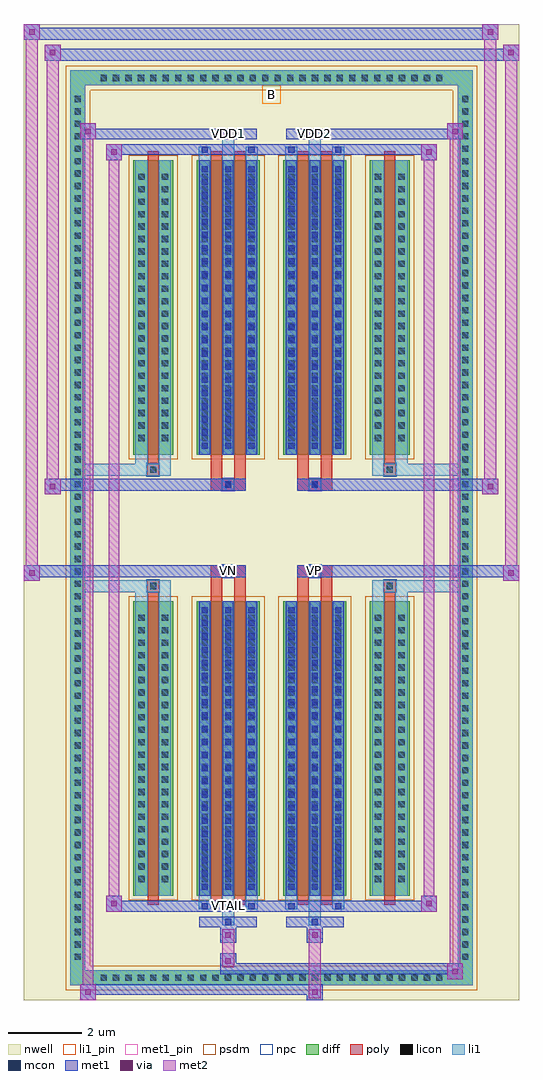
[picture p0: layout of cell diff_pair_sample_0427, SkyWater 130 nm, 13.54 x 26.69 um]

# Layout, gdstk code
import gdstk
lib = gdstk.Library(unit=1e-6, precision=5e-09)
def R(c, l, rs):  # rectangles x0, y0, x1, y1
    for r in rs: c.add(gdstk.rectangle(r[:2], r[2:], *l))
def A(c, l, x, y, w, h, nx, ny, dx, dy):  # array of equal rectangles
    R(c, l, [(x+i*dx, y+j*dy, x+i*dx+w, y+j*dy+h) for i in range(nx) for j in range(ny)])
def P(c, l, *ps):  # polygons
    for p in ps: c.add(gdstk.Polygon(p, *l))
nwell = (64, 20)
diff = (65, 20)
poly = (66, 20)
licon = (66, 44)
li1_pin = (67, 16)
li1 = (67, 20)
mcon = (67, 44)
met1_pin = (68, 16)
met1 = (68, 20)
via = (68, 44)
met2 = (69, 20)
psdm = (94, 20)
npc = (95, 20)

diff_pair_sample_0427 = lib.new_cell('diff_pair_sample_0427')
R(diff_pair_sample_0427, nwell, [(-6.77,-12.91,6.77,13.78), (-4.09,-11.1,-0.01,-0.82), (0.01,-11.1,4.09,-0.82), (-4.09,0.82,-0.01,11.1), (0.01,0.82,4.09,11.1)])
A(diff_pair_sample_0427, diff, -4.795, -12.51, 0.41, 0.41, 28, 2, 0.34, 24.61)
A(diff_pair_sample_0427, diff, -5.5, -11.935, 0.41, 0.41, 1, 70, 0, 0.34)
A(diff_pair_sample_0427, diff, 5.09, -11.935, 0.41, 0.41, 1, 70, 0, 0.34)
R(diff_pair_sample_0427, diff, [(-4.795,-12.51,4.795,-12.1), (-5.5,-11.935,-5.09,11.935), (5.09,-11.935,5.5,11.935), (-3.78,-10.055,-2.69,-2.005), (-2.05,-10.055,-0.32,-2.005), (0.32,-10.055,2.05,-2.005), (2.69,-10.055,3.78,-2.005), (-3.78,2.005,-2.69,10.055), (-2.05,2.005,-0.32,10.055), (0.32,2.005,2.05,10.055), (2.69,2.005,3.78,10.055), (-4.795,12.1,4.795,12.51)])
P(diff_pair_sample_0427, diff, [(5.5,12.51),(-5.5,12.51),(-5.5,-12.1),(-5.09,-12.1),(-5.09,12.1),(5.09,12.1),(5.09,-12.1),(-5.09,-12.1),(-5.5,-12.1),(-5.5,-12.51),(5.5,-12.51)])
R(diff_pair_sample_0427, poly, [(-3.39,-10.305,-3.08,-1.755), (-1.66,-10.305,-1.35,-1.755), (-1.02,-10.305,-0.71,-1.755), (0.71,-10.305,1.02,-1.755), (1.35,-10.305,1.66,-1.755), (3.08,-10.305,3.39,-1.755), (-3.4,-1.755,-3.07,-1.425), (-3.4,-1.755,-3.07,-1.425), (-1.66,-1.755,-1.35,-1.35), (-1.02,-1.755,-0.71,-1.35), (0.71,-1.755,1.02,-1.35), (1.35,-1.755,1.66,-1.35), (3.07,-1.755,3.4,-1.425), (3.07,-1.755,3.4,-1.425), (-1.66,-1.35,-0.71,-1.02), (-1.35,-1.35,-1.02,-1.02), (0.71,-1.35,1.66,-1.02), (1.02,-1.35,1.35,-1.02), (-1.66,1.02,-0.71,1.35), (-1.35,1.02,-1.02,1.35), (0.71,1.02,1.66,1.35), (1.02,1.02,1.35,1.35), (-1.66,1.35,-1.35,1.755), (-1.02,1.35,-0.71,1.755), (0.71,1.35,1.02,1.755), (1.35,1.35,1.66,1.755), (-3.4,1.425,-3.07,1.755), (-3.4,1.425,-3.07,1.755), (3.07,1.425,3.4,1.755), (3.07,1.425,3.4,1.755), (-3.39,1.755,-3.08,10.305), (-1.66,1.755,-1.35,10.305), (-1.02,1.755,-0.71,10.305), (0.71,1.755,1.02,10.305), (1.35,1.755,1.66,10.305), (3.08,1.755,3.39,10.305)])
A(diff_pair_sample_0427, licon, -4.675, -12.39, 0.17, 0.17, 28, 2, 0.34, 24.61)
A(diff_pair_sample_0427, licon, -5.38, -11.815, 0.17, 0.17, 1, 70, 0, 0.34)
A(diff_pair_sample_0427, licon, 5.21, -11.815, 0.17, 0.17, 1, 70, 0, 0.34)
A(diff_pair_sample_0427, licon, -3.64, -9.685, 0.17, 0.17, 1, 22, 0, 0.34)
A(diff_pair_sample_0427, licon, -3, -9.685, 0.17, 0.17, 1, 22, 0, 0.34)
A(diff_pair_sample_0427, licon, -1.91, -9.685, 0.17, 0.17, 3, 22, 0.64, 0.34)
A(diff_pair_sample_0427, licon, 0.46, -9.685, 0.17, 0.17, 3, 22, 0.64, 0.34)
A(diff_pair_sample_0427, licon, 2.83, -9.685, 0.17, 0.17, 1, 22, 0, 0.34)
A(diff_pair_sample_0427, licon, 3.47, -9.685, 0.17, 0.17, 1, 22, 0, 0.34)
A(diff_pair_sample_0427, licon, -3.64, 2.375, 0.17, 0.17, 1, 22, 0, 0.34)
A(diff_pair_sample_0427, licon, -3, 2.375, 0.17, 0.17, 1, 22, 0, 0.34)
A(diff_pair_sample_0427, licon, -1.91, 2.375, 0.17, 0.17, 3, 22, 0.64, 0.34)
A(diff_pair_sample_0427, licon, 0.46, 2.375, 0.17, 0.17, 3, 22, 0.64, 0.34)
A(diff_pair_sample_0427, licon, 2.83, 2.375, 0.17, 0.17, 1, 22, 0, 0.34)
A(diff_pair_sample_0427, licon, 3.47, 2.375, 0.17, 0.17, 1, 22, 0, 0.34)
R(diff_pair_sample_0427, licon, [(-3.32,-1.675,-3.15,-1.505), (3.15,-1.675,3.32,-1.505), (-1.27,-1.27,-1.1,-1.1), (1.1,-1.27,1.27,-1.1), (-1.27,1.1,-1.1,1.27), (1.1,1.1,1.27,1.27), (-3.32,1.505,-3.15,1.675), (3.15,1.505,3.32,1.675)])
R(diff_pair_sample_0427, li1_pin, [(-0.25,11.6,0.25,12.1)])
A(diff_pair_sample_0427, li1, -4.755, -12.47, 0.33, 0.33, 28, 2, 0.34, 24.61)
A(diff_pair_sample_0427, li1, -5.46, -11.895, 0.33, 0.33, 1, 70, 0, 0.34)
A(diff_pair_sample_0427, li1, 5.13, -11.895, 0.33, 0.33, 1, 70, 0, 0.34)
A(diff_pair_sample_0427, li1, -1.99, -10.055, 0.33, 8.05, 3, 2, 0.64, 12.06)
A(diff_pair_sample_0427, li1, 0.38, -10.055, 0.33, 8.05, 3, 2, 0.64, 12.06)
A(diff_pair_sample_0427, li1, -1.91, -9.895, 0.17, 0.17, 3, 22, 0.64, 0.36)
A(diff_pair_sample_0427, li1, -1.91, -9.895, 0.17, 7.73, 3, 2, 0.64, 12.06)
A(diff_pair_sample_0427, li1, 0.46, -9.895, 0.17, 0.17, 3, 22, 0.64, 0.36)
A(diff_pair_sample_0427, li1, 0.46, -9.895, 0.17, 7.73, 3, 2, 0.64, 12.06)
A(diff_pair_sample_0427, li1, -3.72, -9.765, 0.33, 0.33, 1, 22, 0, 0.34)
A(diff_pair_sample_0427, li1, -3.08, -9.765, 0.33, 0.33, 1, 22, 0, 0.34)
A(diff_pair_sample_0427, li1, -1.99, -9.765, 0.33, 0.33, 3, 22, 0.64, 0.34)
A(diff_pair_sample_0427, li1, 0.38, -9.765, 0.33, 0.33, 3, 22, 0.64, 0.34)
A(diff_pair_sample_0427, li1, 2.75, -9.765, 0.33, 0.33, 1, 22, 0, 0.34)
A(diff_pair_sample_0427, li1, 3.39, -9.765, 0.33, 0.33, 1, 22, 0, 0.34)
A(diff_pair_sample_0427, li1, -1.91, 2.165, 0.17, 0.17, 3, 22, 0.64, 0.36)
A(diff_pair_sample_0427, li1, 0.46, 2.165, 0.17, 0.17, 3, 22, 0.64, 0.36)
A(diff_pair_sample_0427, li1, -3.72, 2.295, 0.33, 0.33, 1, 22, 0, 0.34)
A(diff_pair_sample_0427, li1, -3.08, 2.295, 0.33, 0.33, 1, 22, 0, 0.34)
A(diff_pair_sample_0427, li1, -1.99, 2.295, 0.33, 0.33, 3, 22, 0.64, 0.34)
A(diff_pair_sample_0427, li1, 0.38, 2.295, 0.33, 0.33, 3, 22, 0.64, 0.34)
A(diff_pair_sample_0427, li1, 2.75, 2.295, 0.33, 0.33, 1, 22, 0, 0.34)
A(diff_pair_sample_0427, li1, 3.39, 2.295, 0.33, 0.33, 1, 22, 0, 0.34)
R(diff_pair_sample_0427, li1, [(-5.5,-12.51,-5.09,-12.1), (-5.5,-12.51,-5.09,-12.1), (-5.09,-12.51,5.09,-12.1), (5.09,-12.51,5.5,-12.1), (5.09,-12.51,5.5,-12.1), (-5.5,-12.1,-5.09,12.1), (5.09,-12.1,5.5,12.1), (-1.35,-10.86,-1.02,-10.055), (-1.27,-10.86,-1.1,-10.69), (1.02,-10.86,1.35,-10.055), (1.1,-10.86,1.27,-10.69), (-1.99,-10.43,-1.66,-10.055), (-1.91,-10.43,-1.74,-10.26), (-0.71,-10.43,-0.38,-10.055), (-0.63,-10.43,-0.46,-10.26), (0.38,-10.43,0.71,-10.055), (0.46,-10.43,0.63,-10.26), (1.66,-10.43,1.99,-10.055), (1.74,-10.43,1.91,-10.26), (-3.72,-10.055,-3.39,-2.005), (-3.08,-10.055,-2.75,-2.005), (2.75,-10.055,3.08,-2.005), (3.39,-10.055,3.72,-2.005), (-3.72,-2.005,-3.39,-1.425), (-3.08,-2.005,-2.75,-1.425), (2.75,-2.005,3.08,-1.425), (3.39,-2.005,3.72,-1.425), (-5.5,-1.755,-3.4,-1.425), (-3.72,-1.755,-3.4,-1.425), (-3.4,-1.755,-3.07,-1.425), (-3.07,-1.755,-2.75,-1.425), (2.75,-1.755,3.07,-1.425), (3.07,-1.755,3.4,-1.425), (3.07,-1.755,5.5,-1.425), (3.4,-1.755,3.72,-1.425), (-1.35,-1.35,-1.02,-1.02), (1.02,-1.35,1.35,-1.02), (-1.35,1.02,-1.02,1.35), (1.02,1.02,1.35,1.35), (-5.5,1.425,-3.4,1.755), (-3.72,1.425,-3.4,1.755), (-3.72,1.425,-3.39,2.005), (-3.4,1.425,-3.07,1.755), (-3.08,1.425,-2.75,2.005), (-3.07,1.425,-2.75,1.755), (2.75,1.425,3.07,1.755), (2.75,1.425,3.08,2.005), (3.07,1.425,3.4,1.755), (3.07,1.425,5.5,1.755), (3.39,1.425,3.72,2.005), (3.4,1.425,3.72,1.755), (-3.72,2.005,-3.39,10.055), (-3.08,2.005,-2.75,10.055), (2.75,2.005,3.08,10.055), (3.39,2.005,3.72,10.055), (-1.99,10.055,-1.66,10.43), (-1.35,10.055,-1.02,10.86), (-0.71,10.055,-0.38,10.43), (0.38,10.055,0.71,10.43), (1.02,10.055,1.35,10.86), (1.66,10.055,1.99,10.43), (-1.91,10.26,-1.74,10.43), (-0.63,10.26,-0.46,10.43), (0.46,10.26,0.63,10.43), (1.74,10.26,1.91,10.43), (-1.27,10.69,-1.1,10.86), (1.1,10.69,1.27,10.86), (-5.5,12.1,-5.09,12.51), (-5.5,12.1,-5.09,12.51), (-5.09,12.1,5.09,12.51), (5.09,12.1,5.5,12.51), (5.09,12.1,5.5,12.51)])
A(diff_pair_sample_0427, mcon, -1.91, -9.895, 0.17, 0.17, 3, 22, 0.64, 0.36)
A(diff_pair_sample_0427, mcon, 0.46, -9.895, 0.17, 0.17, 3, 22, 0.64, 0.36)
A(diff_pair_sample_0427, mcon, -1.91, 2.165, 0.17, 0.17, 3, 22, 0.64, 0.36)
A(diff_pair_sample_0427, mcon, 0.46, 2.165, 0.17, 0.17, 3, 22, 0.64, 0.36)
R(diff_pair_sample_0427, mcon, [(-1.27,-10.86,-1.1,-10.69), (1.1,-10.86,1.27,-10.69), (-1.91,-10.43,-1.74,-10.26), (-0.63,-10.43,-0.46,-10.26), (0.46,-10.43,0.63,-10.26), (1.74,-10.43,1.91,-10.26), (-1.27,-1.27,-1.1,-1.1), (1.1,-1.27,1.27,-1.1), (-1.27,1.1,-1.1,1.27), (1.1,1.1,1.27,1.27), (-1.91,10.26,-1.74,10.43), (-0.63,10.26,-0.46,10.43), (0.46,10.26,0.63,10.43), (1.74,10.26,1.91,10.43), (-1.27,10.69,-1.1,10.86), (1.1,10.69,1.27,10.86)])
R(diff_pair_sample_0427, met1_pin, [(-1.32,-10.47,-1.05,-10.2), (-1.32,-1.29,-1.05,-1.02), (1.05,-1.29,1.32,-1.02), (-1.32,10.65,-1.05,10.92), (1.05,10.65,1.32,10.92)])
A(diff_pair_sample_0427, met1, -1.97, -10.055, 0.29, 8.05, 3, 2, 0.64, 12.06)
A(diff_pair_sample_0427, met1, 0.4, -10.055, 0.29, 8.05, 3, 2, 0.64, 12.06)
A(diff_pair_sample_0427, met1, -1.97, -9.955, 0.29, 0.29, 3, 22, 0.64, 0.36)
A(diff_pair_sample_0427, met1, 0.4, -9.955, 0.29, 0.29, 3, 22, 0.64, 0.36)
A(diff_pair_sample_0427, met1, -1.97, 2.105, 0.29, 0.29, 3, 22, 0.64, 0.36)
A(diff_pair_sample_0427, met1, 0.4, 2.105, 0.29, 0.29, 3, 22, 0.64, 0.36)
R(diff_pair_sample_0427, met1, [(-5.23,-12.91,-4.8,-12.48), (0.97,-12.91,1.4,-12.48), (-5.23,-12.77,1.4,-12.48), (4.8,-12.34,5.23,-11.91), (-1.4,-12.2,5.23,-11.91), (-1.4,-12.06,-0.97,-11.63), (-1.4,-11.35,-0.97,-10.92), (0.97,-11.35,1.4,-10.92), (-1.97,-10.92,-0.4,-10.63), (-1.33,-10.92,-1.04,-10.63), (0.4,-10.92,1.97,-10.63), (1.04,-10.92,1.33,-10.63), (-4.52,-10.49,-4.09,-10.06), (-4.52,-10.49,-1.97,-10.2), (-1.97,-10.49,-1.68,-10.2), (-1.97,-10.49,-0.4,-10.2), (-0.69,-10.49,-0.4,-10.2), (-0.4,-10.49,0.4,-10.2), (0.4,-10.49,0.69,-10.2), (0.4,-10.49,1.97,-10.2), (1.68,-10.49,1.97,-10.2), (1.97,-10.49,4.52,-10.2), (4.09,-10.49,4.52,-10.06), (-6.77,-1.45,-6.34,-1.02), (6.34,-1.45,6.77,-1.02), (-6.77,-1.35,-0.71,-1.02), (-1.66,-1.35,-0.71,-1.02), (0.71,-1.35,1.66,-1.02), (0.71,-1.35,6.77,-1.02), (-1.33,-1.33,-1.04,-1.04), (1.04,-1.33,1.33,-1.04), (-6.2,0.92,-5.77,1.35), (5.77,0.92,6.2,1.35), (-6.2,1.02,-1.66,1.35), (-1.66,1.02,-0.71,1.35), (0.71,1.02,1.66,1.35), (1.66,1.02,6.2,1.35), (-1.33,1.04,-1.04,1.33), (1.04,1.04,1.33,1.33), (-4.52,10.06,-4.09,10.49), (4.09,10.06,4.52,10.49), (-4.52,10.2,-1.97,10.49), (-1.97,10.2,-1.68,10.49), (-1.97,10.2,-0.4,10.49), (-0.69,10.2,-0.4,10.49), (-0.4,10.2,0.4,10.49), (0.4,10.2,0.69,10.49), (0.4,10.2,1.97,10.49), (1.68,10.2,1.97,10.49), (1.97,10.2,4.52,10.49), (-5.23,10.63,-4.8,11.06), (-5.23,10.63,-1.97,10.92), (-1.97,10.63,-0.4,10.92), (-1.33,10.63,-1.04,10.92), (0.4,10.63,1.97,10.92), (1.04,10.63,1.33,10.92), (1.97,10.63,5.23,10.92), (4.8,10.63,5.23,11.06), (-6.2,12.78,-5.77,13.21), (-6.2,12.78,-4.09,13.11), (-4.09,12.78,4.09,13.11), (4.09,12.78,6.77,13.11), (6.34,12.78,6.77,13.21), (-6.77,13.35,-6.34,13.78), (-6.77,13.35,-4.09,13.68), (-4.09,13.35,4.09,13.68), (4.09,13.35,6.2,13.68), (5.77,13.35,6.2,13.78)])
R(diff_pair_sample_0427, via, [(-5.09,-12.77,-4.94,-12.62), (1.11,-12.77,1.26,-12.62), (4.94,-12.2,5.09,-12.05), (-1.26,-11.92,-1.11,-11.77), (-1.26,-11.21,-1.11,-11.06), (1.11,-11.21,1.26,-11.06), (-4.38,-10.35,-4.23,-10.2), (4.23,-10.35,4.38,-10.2), (-6.63,-1.31,-6.48,-1.16), (6.48,-1.31,6.63,-1.16), (-6.06,1.06,-5.91,1.21), (5.91,1.06,6.06,1.21), (-4.38,10.2,-4.23,10.35), (4.23,10.2,4.38,10.35), (-5.09,10.77,-4.94,10.92), (4.94,10.77,5.09,10.92), (-6.06,12.92,-5.91,13.07), (6.48,12.92,6.63,13.07), (-6.63,13.49,-6.48,13.64), (5.91,13.49,6.06,13.64)])
R(diff_pair_sample_0427, met2, [(-5.23,-12.91,-4.8,-12.48), (-5.16,-12.91,-4.87,11.06), (-4.87,-12.91,-4.8,-12.48), (-5.18,-12.86,-4.85,-12.53), (1.02,-12.86,1.35,-12.53), (1.02,-12.53,1.35,-11.3), (4.8,-12.34,5.23,-11.91), (4.87,-12.34,5.16,11.06), (5.16,-12.34,5.23,-11.91), (4.85,-12.29,5.18,-11.96), (-1.35,-12.01,-1.02,-11.68), (-1.35,-11.68,-1.02,-11.3), (-1.35,-11.3,-1.02,-10.97), (1.02,-11.3,1.35,-10.97), (-4.52,-10.49,-4.09,-10.06), (-4.45,-10.49,-4.16,10.49), (-4.16,-10.49,-4.09,-10.06), (4.09,-10.49,4.52,-10.06), (4.16,-10.49,4.45,10.49), (4.45,-10.49,4.52,-10.06), (-4.47,-10.44,-4.14,-10.11), (4.14,-10.44,4.47,-10.11), (-6.77,-1.45,-6.34,-1.02), (-6.72,-1.45,-6.39,13.78), (-6.39,-1.45,-6.34,-1.02), (6.34,-1.45,6.77,-1.02), (6.39,-1.45,6.72,13.21), (6.72,-1.45,6.77,-1.02), (-6.72,-1.4,-6.39,-1.07), (6.39,-1.4,6.72,-1.07), (-6.2,0.92,-5.77,1.35), (-6.15,0.92,-5.82,13.21), (-5.82,0.92,-5.77,1.35), (5.77,0.92,6.2,1.35), (5.82,0.92,6.15,13.78), (6.15,0.92,6.2,1.35), (-6.15,0.97,-5.82,1.3), (5.82,0.97,6.15,1.3), (-4.52,10.06,-4.09,10.49), (-4.16,10.06,-4.09,10.49), (4.09,10.06,4.52,10.49), (4.45,10.06,4.52,10.49), (-4.47,10.11,-4.14,10.44), (4.14,10.11,4.47,10.44), (-5.23,10.63,-4.8,11.06), (-4.87,10.63,-4.8,11.06), (4.8,10.63,5.23,11.06), (5.16,10.63,5.23,11.06), (-5.18,10.68,-4.85,11.01), (4.85,10.68,5.18,11.01), (-6.2,12.78,-5.77,13.21), (-5.82,12.78,-5.77,13.21), (6.34,12.78,6.77,13.21), (6.72,12.78,6.77,13.21), (-6.15,12.83,-5.82,13.16), (6.39,12.83,6.72,13.16), (-6.77,13.35,-6.34,13.78), (-6.39,13.35,-6.34,13.78), (5.77,13.35,6.2,13.78), (6.15,13.35,6.2,13.78), (-6.72,13.4,-6.39,13.73), (5.82,13.4,6.15,13.73)])
R(diff_pair_sample_0427, psdm, [(-3.91,-10.185,-2.56,-1.875), (-2.18,-10.185,-0.19,-1.875), (0.19,-10.185,2.18,-1.875), (2.56,-10.185,3.91,-1.875), (-3.91,1.875,-2.56,10.185), (-2.18,1.875,-0.19,10.185), (0.19,1.875,2.18,10.185), (2.56,1.875,3.91,10.185)])
P(diff_pair_sample_0427, psdm, [(5.63,12.64),(-5.63,12.64),(-5.63,-11.97),(-4.96,-11.97),(-4.96,11.97),(4.96,11.97),(4.96,-11.97),(-4.96,-11.97),(-5.63,-11.97),(-5.63,-12.64),(5.63,-12.64)])
R(diff_pair_sample_0427, npc, [(-3.42,-1.775,-3.05,-1.405), (3.05,-1.775,3.42,-1.405), (-1.37,-1.37,-1,-1), (1,-1.37,1.37,-1), (-1.37,1,-1,1.37), (1,1,1.37,1.37), (-3.42,1.405,-3.05,1.775), (3.05,1.405,3.42,1.775)])
diff_pair_sample_0427.add(gdstk.Label('VTAIL', (-1.185,-10.335), layer=68, texttype=5))
diff_pair_sample_0427.add(gdstk.Label('VN', (-1.185,-1.155), layer=68, texttype=5))
diff_pair_sample_0427.add(gdstk.Label('VP', (1.185,-1.155), layer=68, texttype=5))
diff_pair_sample_0427.add(gdstk.Label('B', (0,11.85), layer=67, texttype=5))
diff_pair_sample_0427.add(gdstk.Label('VDD2', (1.185,10.785), layer=68, texttype=5))
diff_pair_sample_0427.add(gdstk.Label('VDD1', (-1.185,10.785), layer=68, texttype=5))

lib.write_gds('diff_pair_sample_0427.gds')
